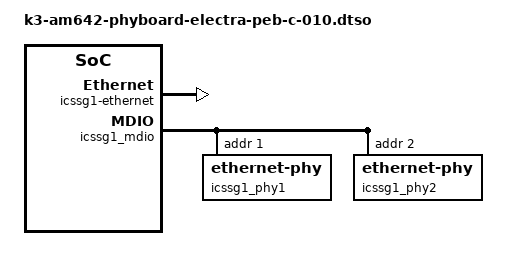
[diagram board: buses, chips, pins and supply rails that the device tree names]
// SPDX-License-Identifier: GPL-2.0-only OR MIT
/*
 * Copyright (C) 2025 PHYTEC America LLC
 * Author: Garrett Giordano <ggiordano@phytec.com>
 */

/dts-v1/;
/plugin/;

#include <dt-bindings/net/ti-dp83869.h>
#include "k3-pinctrl.h"

&{/} {
	aliases {
		ethernet3 = "/icssg1-ethernet/ethernet-ports/port@0";
		ethernet4 = "/icssg1-ethernet/ethernet-ports/port@1";
	};

	icssg1-ethernet {
		compatible = "ti,am642-icssg-prueth";
		pinctrl-names = "default";
		pinctrl-0 = <&icssg1_rgmii1_pins_default>, <&icssg1_rgmii2_pins_default>;

		dmas = <&main_pktdma 0xc200 15>, /* egress slice 0 */
				<&main_pktdma 0xc201 15>, /* egress slice 0 */
				<&main_pktdma 0xc202 15>, /* egress slice 0 */
				<&main_pktdma 0xc203 15>, /* egress slice 0 */
				<&main_pktdma 0xc204 15>, /* egress slice 1 */
				<&main_pktdma 0xc205 15>, /* egress slice 1 */
				<&main_pktdma 0xc206 15>, /* egress slice 1 */
				<&main_pktdma 0xc207 15>, /* egress slice 1 */
				<&main_pktdma 0x4200 15>, /* ingress slice 0 */
				<&main_pktdma 0x4201 15>, /* ingress slice 1 */
				<&main_pktdma 0x4202 0>, /* mgmnt rsp slice 0 */
				<&main_pktdma 0x4203 0>; /* mgmnt rsp slice 1 */
		dma-names = "tx0-0", "tx0-1", "tx0-2", "tx0-3",
					"tx1-0", "tx1-1", "tx1-2", "tx1-3",
					"rx0", "rx1",
					"rxmgm0", "rxmgm1";

		firmware-name = "ti-pruss/am65x-sr2-pru0-prueth-fw.elf",
				"ti-pruss/am65x-sr2-rtu0-prueth-fw.elf",
				"ti-pruss/am65x-sr2-txpru0-prueth-fw.elf",
				"ti-pruss/am65x-sr2-pru1-prueth-fw.elf",
				"ti-pruss/am65x-sr2-rtu1-prueth-fw.elf",
				"ti-pruss/am65x-sr2-txpru1-prueth-fw.elf";

		interrupt-parent = <&icssg1_intc>;
		interrupts = <24 0 2>, <25 1 3>;
		interrupt-names = "tx_ts0", "tx_ts1";
		sram = <&oc_sram>;

		ti,iep = <&icssg1_iep0>, <&icssg1_iep1>;
		ti,mii-g-rt = <&icssg1_mii_g_rt>;
		ti,mii-rt = <&icssg1_mii_rt>;
		ti,pa-stats = <&icssg1_pa_stats>;
		ti,prus = <&pru1_0>, <&rtu1_0>, <&tx_pru1_0>, <&pru1_1>, <&rtu1_1>, <&tx_pru1_1>;
		ti,pruss-gp-mux-sel = <2>,	/* MII mode */
				      <2>,
				      <2>,
				      <2>,	/* MII mode */
				      <2>,
				      <2>;

		ethernet-ports {
			#address-cells = <1>;
			#size-cells = <0>;
			icssg1_emac0: port@0 {
				reg = <0>;
				phy-handle = <&icssg1_phy1>;
				phy-mode = "rgmii-id";
				/* Filled in by bootloader */
				local-mac-address = [00 00 00 00 00 00];
				ti,syscon-rgmii-delay = <&main_conf 0x4110>;
			};

			icssg1_emac1: port@1 {
				reg = <1>;
				phy-handle = <&icssg1_phy2>;
				phy-mode = "rgmii-id";
				/* Filled in by bootloader */
				local-mac-address = [00 00 00 00 00 00];
				ti,syscon-rgmii-delay = <&main_conf 0x4114>;
			};
		};
	};
};

&main_pmx0 {
	icssg1_mdio_pins_default: icssg1-mdio-default-pins {
		pinctrl-single,pins = <
			AM64X_IOPAD(0x015c, PIN_OUTPUT, 0) /* (Y6) PRG1_MDIO0_MDC */
			AM64X_IOPAD(0x0158, PIN_INPUT, 0)  /* (AA6) PRG1_MDIO0_MDIO */
		>;
	};

	icssg1_rgmii1_pins_default: icssg1-rgmii1-default-pins {
		pinctrl-single,pins = <
			AM64X_IOPAD(0x00b8, PIN_INPUT, 2) /* (Y7) PRG1_PRU0_GPO0.PRG1_RGMII1_RD0 */
			AM64X_IOPAD(0x00bc, PIN_INPUT, 2) /* (U8) PRG1_PRU0_GPO1.PRG1_RGMII1_RD1 */
			AM64X_IOPAD(0x00c0, PIN_INPUT, 2) /* (W8) PRG1_PRU0_GPO2.PRG1_RGMII1_RD2 */
			AM64X_IOPAD(0x00c4, PIN_INPUT, 2) /* (V8) PRG1_PRU0_GPO3.PRG1_RGMII1_RD3 */
			AM64X_IOPAD(0x00d0, PIN_INPUT, 2) /* (AA7) PRG1_PRU0_GPO6.PRG1_RGMII1_RXC */
			AM64X_IOPAD(0x00c8, PIN_INPUT, 2) /* (Y8) PRG1_PRU0_GPO4.PRG1_RGMII1_RX_CTL */
			AM64X_IOPAD(0x00e4, PIN_OUTPUT, 2) /* (AA8) PRG1_PRU0_GPO11.PRG1_RGMII1_TD0 */
			AM64X_IOPAD(0x00e8, PIN_OUTPUT, 2) /* (U9) PRG1_PRU0_GPO12.PRG1_RGMII1_TD1 */
			AM64X_IOPAD(0x00ec, PIN_OUTPUT, 2) /* (W9) PRG1_PRU0_GPO13.PRG1_RGMII1_TD2 */
			AM64X_IOPAD(0x00f0, PIN_OUTPUT, 2) /* (AA9) PRG1_PRU0_GPO14.PRG1_RGMII1_TD3 */
			AM64X_IOPAD(0x00f4, PIN_OUTPUT, 2) /* (Y9) PRG1_PRU0_GPO15.PRG1_RGMII1_TX_CTL */
			AM64X_IOPAD(0x00f8, PIN_INPUT, 2) /* (V9) PRG1_PRU0_GPO16.PRG1_RGMII1_TXC */
		>;
	};

	icssg1_rgmii2_pins_default: icssg1-rgmii2-default-pins {
		pinctrl-single,pins = <
			AM64X_IOPAD(0x0108, PIN_INPUT, 2) /* (W11) PRG1_PRU1_GPO0.PRG1_RGMII2_RD0 */
			AM64X_IOPAD(0x010c, PIN_INPUT, 2) /* (V11) PRG1_PRU1_GPO1.PRG1_RGMII2_RD1 */
			AM64X_IOPAD(0x0110, PIN_INPUT, 2) /* (AA12) PRG1_PRU1_GPO2.PRG1_RGMII2_RD2 */
			AM64X_IOPAD(0x0114, PIN_INPUT, 2) /* (Y12) PRG1_PRU1_GPO3.PRG1_RGMII2_RD3 */
			AM64X_IOPAD(0x0118, PIN_INPUT, 2) /* (W12) PRG1_PRU1_GPO4.PRG1_RGMII2_RX_CTL */
			AM64X_IOPAD(0x0120, PIN_INPUT, 2) /* (U11) PRG1_PRU1_GPO6.PRG1_RGMII2_RXC */
			AM64X_IOPAD(0x0134, PIN_OUTPUT, 2) /* (AA10) PRG1_PRU1_GPO11.PRG1_RGMII2_TD0 */
			AM64X_IOPAD(0x0138, PIN_OUTPUT, 2) /* (V10) PRG1_PRU1_GPO12.PRG1_RGMII2_TD1 */
			AM64X_IOPAD(0x013c, PIN_OUTPUT, 2) /* (U10) PRG1_PRU1_GPO13.PRG1_RGMII2_TD2 */
			AM64X_IOPAD(0x0140, PIN_OUTPUT, 2) /* (AA11) PRG1_PRU1_GPO14.PRG1_RGMII2_TD3 */
			AM64X_IOPAD(0x0144, PIN_OUTPUT, 2) /* (Y11) PRG1_PRU1_GPO15.PRG1_RGMII2_TX_CTL */
			AM64X_IOPAD(0x0148, PIN_INPUT, 2) /* (Y10) PRG1_PRU1_GPO16.PRG1_RGMII2_TXC */
		>;
	};
};

&icssg1_mdio {
	pinctrl-names = "default";
	pinctrl-0 = <&icssg1_mdio_pins_default>;
	#address-cells = <1>;
	#size-cells = <0>;
	status = "okay";

	icssg1_phy1: ethernet-phy@1 {
		reg = <0x1>;
		rx-fifo-depth = <DP83869_PHYCR_FIFO_DEPTH_4_B_NIB>;
		tx-fifo-depth = <DP83869_PHYCR_FIFO_DEPTH_4_B_NIB>;
		rx-internal-delay-ps = <2000>;
		tx-internal-delay-ps = <2000>;
		ti,clk-output-sel = <DP83869_CLK_O_SEL_REF_CLK>;
		ti,min-output-impedance;
	};

	icssg1_phy2: ethernet-phy@2 {
		reg = <0x2>;
		rx-fifo-depth = <DP83869_PHYCR_FIFO_DEPTH_4_B_NIB>;
		tx-fifo-depth = <DP83869_PHYCR_FIFO_DEPTH_4_B_NIB>;
		rx-internal-delay-ps = <2000>;
		tx-internal-delay-ps = <2000>;
		ti,clk-output-sel = <DP83869_CLK_O_SEL_REF_CLK>;
		ti,min-output-impedance;
	};
};
